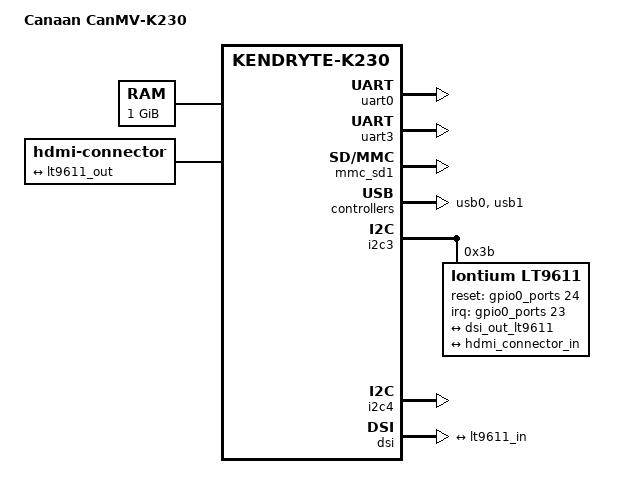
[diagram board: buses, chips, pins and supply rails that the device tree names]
// SPDX-License-Identifier: GPL-2.0 OR MIT
/*
 * Copyright (C) 2024 Yangyu Chen <cyy@cyyself.name>
 */

#include "k230.dtsi"


/ {
	model = "Canaan CanMV-K230";
	compatible = "canaan,canmv-k230", "canaan,kendryte-k230";

	aliases {
		serial3 = &uart3;
		mmc0 = &mmc_sd0;
		mmc1 = &mmc_sd1;
		i2c0 = &i2c4;
		i2c1 = &i2c3;
	};

	chosen {
		stdout-path = "serial0:115200n8";
	};

	ddr: memory@0 {
		device_type = "memory";
		reg = <0x0 0x0 0x0 0x40000000>;
	};

	sound {
		status                      = "okay";
		compatible                  = "canaan,k230-audio-inno";
		canaan,model                = "K230_I2S_INNO";
		canaan,k230-i2s-controller  = <&i2s>;
		canaan,k230-audio-codec     = <&inno_codec>;
	};
};

&uart0 {
	status = "okay";
};
&uart3 {
	status = "okay";
};
&mmc_sd1{
	status = "okay";
	no-1-8-v;
	cap-sd-highspeed;
	mshc_ctrl_r = <0x00>;
};

&usb0 {
	status = "okay";
};
&usb1 {
	status = "okay";
};

&i2c3 {
	status = "okay";
	lt9611: hdmi-bridge@3b {
		compatible = "lontium,lt9611";
		reg = <0x3b>;
		reset-gpios = <&gpio0_ports 24 GPIO_ACTIVE_HIGH>;
		interrupt-parent = <&gpio0_ports>;
		interrupts = <23 IRQ_TYPE_EDGE_FALLING>;
		ports {
			#address-cells  = <1>;
			#size-cells     = <0>;
			port@1 {
				reg = <1>;
				lt9611_in: endpoint {
					remote-endpoint = <&dsi_out_lt9611>;
				};
			};

			port@2 {
				reg = <2>;
				lt9611_out: endpoint {
					remote-endpoint = <&hdmi_connector_in>;
				};
			};
		};
	};
};

&i2c4 {
	status = "okay";
};

&mipi0
{
	// set to csi2
	id = <2>;
	reg = <0x0 0x9000a800 0x0 0x800>;
	interrupts = <121 IRQ_TYPE_LEVEL_HIGH>;
	resets = <&sysctl_reset K230_RESET_CSI2_REG_OFFSET K230_RESET_CSI2_TYPE
			  K230_RESET_CSI2_DONE_BIT K230_RESET_CSI2_ASSERT_BIT>,
	<&sysctl_reset K230_RESET_M2_REG_OFFSET K230_RESET_M2_TYPE
		 K230_RESET_M2_DONE_BIT K230_RESET_M2_ASSERT_BIT>;
};

&dsi {
	ports {
		port@1 {
			reg = <1>;
			dsi_out_lt9611: endpoint {
				remote-endpoint = <&lt9611_in>;
			};
		};
	};
};
/ {
	hdmi: connector {
		compatible = "hdmi-connector";
		label = "hdmi";
		type = "a";

		port {
			hdmi_connector_in: endpoint {
				remote-endpoint = <&lt9611_out>;
			};
		};
	};
};
